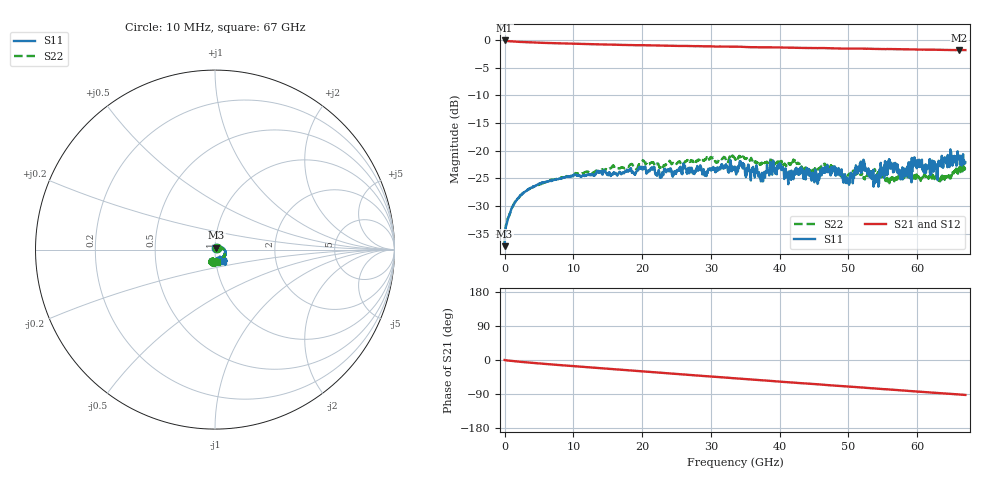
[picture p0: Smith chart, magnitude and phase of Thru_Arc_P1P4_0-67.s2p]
!Keysight Technologies,N5247B,MY61256062,A.16.20.04
!Date: Saturday, November 29, 2025 08:02:07
!Correction: S11(C  2-Port  )
!S21(C  2-Port  )
!S12(C  2-Port  )
!S22(C  2-Port  )
!S2P File: Measurements: S11, S21, S12, S22:
# Hz S  dB  R 50
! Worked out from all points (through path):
!   1601 points, 10 MHz to 67 GHz, reference 50 ohm
!   highest |S21| = -0.10 dB at 10 MHz (marker M1); lowest = -1.8 dB at 66.12 GHz (marker M2)
!   group delay of S21, straight-line fit = 3.74 ps
!   lowest |S11| = -37.2 dB at 10 MHz (marker M3), VSWR 1.03, Z = 50.8 + j1.12 ohm
!   |S11| at or under -10 dB: start of sweep to end of sweep
!   |S22| runs from -37.0 to -20.9 dB; largest |S21 - S12| = 0.0082
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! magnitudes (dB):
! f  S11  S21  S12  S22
! 10 MHz  -37.2  -0.1  -0.1  -37.0
! 1.015 GHz  -30.5  -0.3  -0.3  -30.5
! 2.69 GHz  -27.7  -0.4  -0.4  -27.6
! 11.19 GHz  -24.6  -0.7  -0.7  -24.1
! 20.15 GHz  -23.2  -1.0  -1.0  -21.8
! 22.37 GHz  -24.0  -1.0  -1.0  -22.4
! 33.51 GHz  -23.2  -1.2  -1.2  -21.5
! 34.51 GHz  -22.9  -1.2  -1.2  -21.3
! 37.36 GHz  -24.9  -1.3  -1.3  -22.3
! 38.91 GHz  -24.3  -1.3  -1.3  -21.6
! 42.09 GHz  -24.0  -1.4  -1.4  -21.7
! 44.68 GHz  -24.8  -1.5  -1.5  -23.8
! 47.95 GHz  -23.0  -1.5  -1.5  -23.2
! 49.88 GHz  -25.0  -1.6  -1.6  -24.7
! 52.01 GHz  -22.7  -1.6  -1.6  -24.4
! 54.1 GHz  -24.4  -1.6  -1.6  -24.0
! 55.86 GHz  -21.9  -1.7  -1.7  -25.9
! 57.91 GHz  -24.3  -1.7  -1.7  -24.8
! 59.76 GHz  -22.4  -1.7  -1.7  -24.8
! 62.6 GHz  -22.8  -1.8  -1.8  -25.0
! 66.12 GHz  -20.9  -1.8  -1.8  -23.2
! 67 GHz  -22.1  -1.8  -1.8  -23.2
